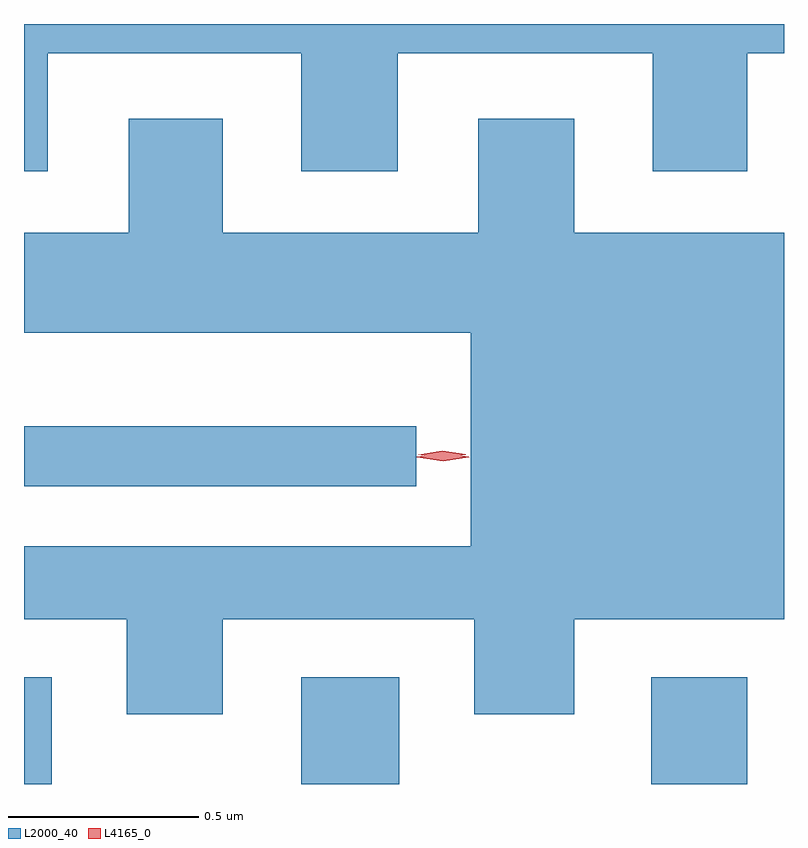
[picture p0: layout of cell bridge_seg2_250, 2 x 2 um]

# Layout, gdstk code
import gdstk
lib = gdstk.Library(unit=1e-6, precision=1e-09)
def R(c, l, rs):  # rectangles x0, y0, x1, y1
    for r in rs: c.add(gdstk.rectangle(r[:2], r[2:], *l))
def P(c, l, *ps):  # polygons
    for p in ps: c.add(gdstk.Polygon(p, *l))
L2000_40 = (2000, 40)
L4165_0 = (4165, 0)

bridge_seg2_250 = lib.new_cell('bridge_seg2_250')
R(bridge_seg2_250, L2000_40, [(604.326,1046.393,604.399,1046.674), (605.056,1046.393,605.314,1046.674), (605.976,1046.393,606.229,1046.674), (604.326,1047.176,605.358,1047.334)])
P(bridge_seg2_250, L2000_40, [(604.389,1048.316),(605.056,1048.316),(605.056,1048.006),(605.309,1048.006),(605.309,1048.316),(605.981,1048.316),(605.981,1048.006),(606.229,1048.006),(606.229,1048.316),(606.326,1048.316),(606.326,1048.393),(604.326,1048.393),(604.326,1048.006),(604.389,1048.006)],
  [(604.849,1046.826),(605.511,1046.826),(605.511,1046.576),(605.774,1046.576),(605.774,1046.826),(606.326,1046.826),(606.326,1047.844),(605.774,1047.844),(605.774,1048.144),(605.521,1048.144),(605.521,1047.844),(604.849,1047.844),(604.849,1048.144),(604.601,1048.144),(604.601,1047.844),(604.326,1047.844),(604.326,1047.581),(605.501,1047.581),(605.501,1047.019),(604.326,1047.019),(604.326,1046.826),(604.596,1046.826),(604.596,1046.576),(604.849,1046.576)])
P(bridge_seg2_250, L4165_0, [(605.426,1047.25),(605.364,1047.259),(605.363,1047.26),(605.364,1047.26),(605.426,1047.27),(605.488,1047.261),(605.488,1047.26),(605.488,1047.26)],
  [(605.429,1047.243),(605.36,1047.253),(605.36,1047.253),(605.36,1047.254),(605.429,1047.263),(605.497,1047.254),(605.498,1047.253),(605.497,1047.253)])

lib.write_gds('bridge_seg2_250.gds')
